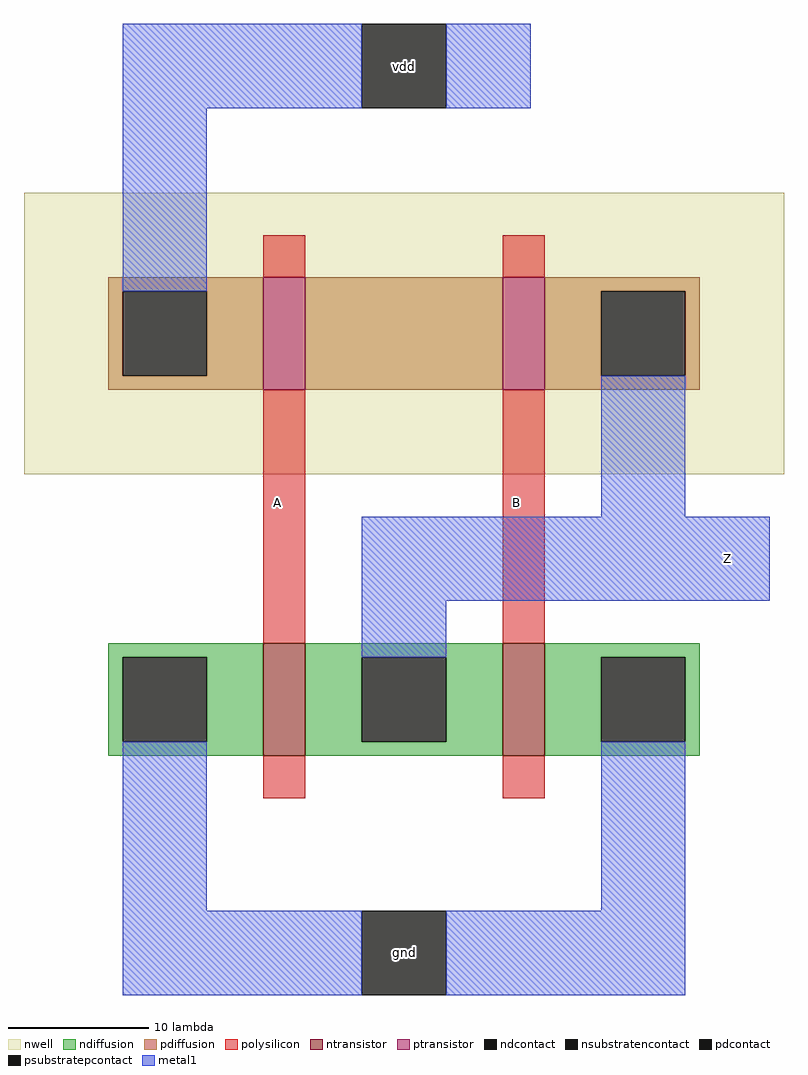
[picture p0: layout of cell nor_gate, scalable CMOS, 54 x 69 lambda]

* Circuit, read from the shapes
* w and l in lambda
.subckt nor_gate A B Z gnd vdd
M1 Z A gnd gnd nfet w=8 l=3
M2 gnd B Z gnd nfet w=8 l=3
M3 n1 A vdd n2 pfet w=8 l=3
M4 Z B n1 n2 pfet w=8 l=3
.ends

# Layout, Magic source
magic
tech scmos
<< nwell >>
rect -6 -6 48 14
<< ntransistor >>
rect 11 -26 14 -18
rect 28 -26 31 -18
<< ptransistor >>
rect 11 0 14 8
rect 28 0 31 8
<< ndiffusion >>
rect 0 -19 11 -18
rect 0 -25 1 -19
rect 7 -25 11 -19
rect 0 -26 11 -25
rect 14 -19 28 -18
rect 14 -25 18 -19
rect 24 -25 28 -19
rect 14 -26 28 -25
rect 31 -19 42 -18
rect 31 -25 35 -19
rect 41 -25 42 -19
rect 31 -26 42 -25
<< pdiffusion >>
rect 0 7 11 8
rect 0 1 1 7
rect 7 1 11 7
rect 0 0 11 1
rect 14 0 28 8
rect 31 7 42 8
rect 31 1 35 7
rect 41 1 42 7
rect 31 0 42 1
<< ndcontact >>
rect 1 -25 7 -19
rect 18 -25 24 -19
rect 35 -25 41 -19
<< pdcontact >>
rect 1 1 7 7
rect 35 1 41 7
<< psubstratepcontact >>
rect 18 -43 24 -37
<< nsubstratencontact >>
rect 18 20 24 26
<< polysilicon >>
rect 11 8 14 11
rect 28 8 31 11
rect 11 -18 14 0
rect 28 -18 31 0
rect 11 -29 14 -26
rect 28 -29 31 -26
<< metal1 >>
rect 1 20 18 26
rect 24 20 30 26
rect 1 7 7 20
rect 35 -9 41 1
rect 18 -15 47 -9
rect 18 -19 24 -15
rect 1 -37 7 -25
rect 35 -37 41 -25
rect 1 -43 18 -37
rect 24 -43 41 -37
<< labels >>
rlabel psubstratepcontact 21 -40 21 -40 1 gnd
rlabel polysilicon 12 -8 12 -8 1 A
rlabel polysilicon 29 -8 29 -8 1 B
rlabel nsubstratencontact 21 23 21 23 5 vdd
rlabel metal1 44 -12 44 -12 7 Z
<< end >>
